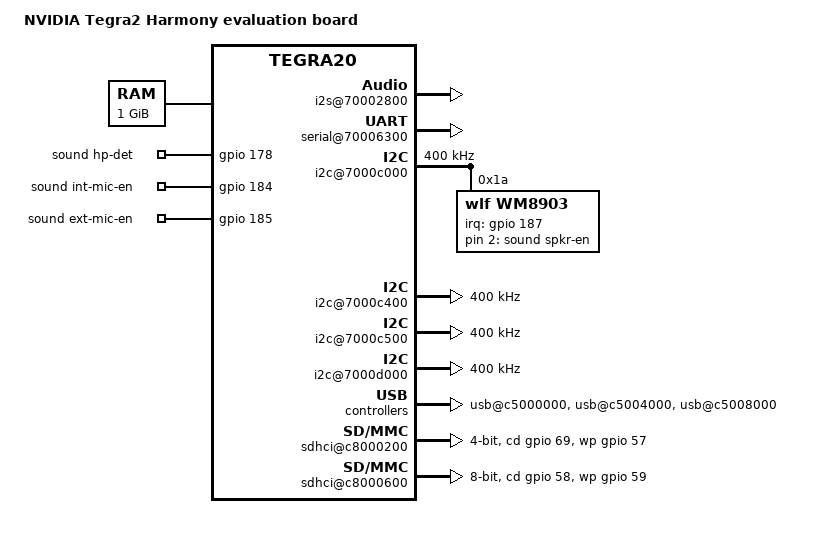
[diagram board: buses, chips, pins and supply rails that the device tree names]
/dts-v1/;

/include/ "tegra20.dtsi"

/ {
	model = "NVIDIA Tegra2 Harmony evaluation board";
	compatible = "nvidia,harmony", "nvidia,tegra20";

	memory {
		reg = <0x00000000 0x40000000>;
	};

	pinmux {
		pinctrl-names = "default";
		pinctrl-0 = <&state_default>;

		state_default: pinmux {
			ata {
				nvidia,pins = "ata";
				nvidia,function = "ide";
			};
			atb {
				nvidia,pins = "atb", "gma", "gme";
				nvidia,function = "sdio4";
			};
			atc {
				nvidia,pins = "atc";
				nvidia,function = "nand";
			};
			atd {
				nvidia,pins = "atd", "ate", "gmb", "gmd", "gpu",
					"spia", "spib", "spic";
				nvidia,function = "gmi";
			};
			cdev1 {
				nvidia,pins = "cdev1";
				nvidia,function = "plla_out";
			};
			cdev2 {
				nvidia,pins = "cdev2";
				nvidia,function = "pllp_out4";
			};
			crtp {
				nvidia,pins = "crtp";
				nvidia,function = "crt";
			};
			csus {
				nvidia,pins = "csus";
				nvidia,function = "vi_sensor_clk";
			};
			dap1 {
				nvidia,pins = "dap1";
				nvidia,function = "dap1";
			};
			dap2 {
				nvidia,pins = "dap2";
				nvidia,function = "dap2";
			};
			dap3 {
				nvidia,pins = "dap3";
				nvidia,function = "dap3";
			};
			dap4 {
				nvidia,pins = "dap4";
				nvidia,function = "dap4";
			};
			ddc {
				nvidia,pins = "ddc";
				nvidia,function = "i2c2";
			};
			dta {
				nvidia,pins = "dta", "dtd";
				nvidia,function = "sdio2";
			};
			dtb {
				nvidia,pins = "dtb", "dtc", "dte";
				nvidia,function = "rsvd1";
			};
			dtf {
				nvidia,pins = "dtf";
				nvidia,function = "i2c3";
			};
			gmc {
				nvidia,pins = "gmc";
				nvidia,function = "uartd";
			};
			gpu7 {
				nvidia,pins = "gpu7";
				nvidia,function = "rtck";
			};
			gpv {
				nvidia,pins = "gpv", "slxa", "slxk";
				nvidia,function = "pcie";
			};
			hdint {
				nvidia,pins = "hdint", "pta";
				nvidia,function = "hdmi";
			};
			i2cp {
				nvidia,pins = "i2cp";
				nvidia,function = "i2cp";
			};
			irrx {
				nvidia,pins = "irrx", "irtx";
				nvidia,function = "uarta";
			};
			kbca {
				nvidia,pins = "kbca", "kbcb", "kbcc", "kbcd",
					"kbce", "kbcf";
				nvidia,function = "kbc";
			};
			lcsn {
				nvidia,pins = "lcsn", "ld0", "ld1", "ld2",
					"ld3", "ld4", "ld5", "ld6", "ld7",
					"ld8", "ld9", "ld10", "ld11", "ld12",
					"ld13", "ld14", "ld15", "ld16", "ld17",
					"ldc", "ldi", "lhp0", "lhp1", "lhp2",
					"lhs", "lm0", "lm1", "lpp", "lpw0",
					"lpw1", "lpw2", "lsc0", "lsc1", "lsck",
					"lsda", "lsdi", "lspi", "lvp0", "lvp1",
					"lvs";
				nvidia,function = "displaya";
			};
			owc {
				nvidia,pins = "owc", "spdi", "spdo", "uac";
				nvidia,function = "rsvd2";
			};
			pmc {
				nvidia,pins = "pmc";
				nvidia,function = "pwr_on";
			};
			rm {
				nvidia,pins = "rm";
				nvidia,function = "i2c1";
			};
			sdb {
				nvidia,pins = "sdb", "sdc", "sdd";
				nvidia,function = "pwm";
			};
			sdio1 {
				nvidia,pins = "sdio1";
				nvidia,function = "sdio1";
			};
			slxc {
				nvidia,pins = "slxc", "slxd";
				nvidia,function = "spdif";
			};
			spid {
				nvidia,pins = "spid", "spie", "spif";
				nvidia,function = "spi1";
			};
			spig {
				nvidia,pins = "spig", "spih";
				nvidia,function = "spi2_alt";
			};
			uaa {
				nvidia,pins = "uaa", "uab", "uda";
				nvidia,function = "ulpi";
			};
			uad {
				nvidia,pins = "uad";
				nvidia,function = "irda";
			};
			uca {
				nvidia,pins = "uca", "ucb";
				nvidia,function = "uartc";
			};
			conf_ata {
				nvidia,pins = "ata", "atb", "atc", "atd", "ate",
					"cdev1", "cdev2", "dap1", "dtb", "gma",
					"gmb", "gmc", "gmd", "gme", "gpu7",
					"gpv", "i2cp", "pta", "rm", "slxa",
					"slxk", "spia", "spib", "uac";
				nvidia,pull = <0>;
				nvidia,tristate = <0>;
			};
			conf_ck32 {
				nvidia,pins = "ck32", "ddrc", "pmca", "pmcb",
					"pmcc", "pmcd", "pmce", "xm2c", "xm2d";
				nvidia,pull = <0>;
			};
			conf_csus {
				nvidia,pins = "csus", "spid", "spif";
				nvidia,pull = <1>;
				nvidia,tristate = <1>;
			};
			conf_crtp {
				nvidia,pins = "crtp", "dap2", "dap3", "dap4",
					"dtc", "dte", "dtf", "gpu", "sdio1",
					"slxc", "slxd", "spdi", "spdo", "spig",
					"uda";
				nvidia,pull = <0>;
				nvidia,tristate = <1>;
			};
			conf_ddc {
				nvidia,pins = "ddc", "dta", "dtd", "kbca",
					"kbcb", "kbcc", "kbcd", "kbce", "kbcf",
					"sdc";
				nvidia,pull = <2>;
				nvidia,tristate = <0>;
			};
			conf_hdint {
				nvidia,pins = "hdint", "lcsn", "ldc", "lm1",
					"lpw1", "lsc1", "lsck", "lsda", "lsdi",
					"lvp0", "owc", "sdb";
				nvidia,tristate = <1>;
			};
			conf_irrx {
				nvidia,pins = "irrx", "irtx", "sdd", "spic",
					"spie", "spih", "uaa", "uab", "uad",
					"uca", "ucb";
				nvidia,pull = <2>;
				nvidia,tristate = <1>;
			};
			conf_lc {
				nvidia,pins = "lc", "ls";
				nvidia,pull = <2>;
			};
			conf_ld0 {
				nvidia,pins = "ld0", "ld1", "ld2", "ld3", "ld4",
					"ld5", "ld6", "ld7", "ld8", "ld9",
					"ld10", "ld11", "ld12", "ld13", "ld14",
					"ld15", "ld16", "ld17", "ldi", "lhp0",
					"lhp1", "lhp2", "lhs", "lm0", "lpp",
					"lpw0", "lpw2", "lsc0", "lspi", "lvp1",
					"lvs", "pmc";
				nvidia,tristate = <0>;
			};
			conf_ld17_0 {
				nvidia,pins = "ld17_0", "ld19_18", "ld21_20",
					"ld23_22";
				nvidia,pull = <1>;
			};
		};
	};

	i2s@70002800 {
		status = "okay";
	};

	serial@70006300 {
		status = "okay";
		clock-frequency = <216000000>;
	};

	i2c@7000c000 {
		status = "okay";
		clock-frequency = <400000>;

		wm8903: wm8903@1a {
			compatible = "wlf,wm8903";
			reg = <0x1a>;
			interrupt-parent = <&gpio>;
			interrupts = <187 0x04>;

			gpio-controller;
			#gpio-cells = <2>;

			micdet-cfg = <0>;
			micdet-delay = <100>;
			gpio-cfg = <0xffffffff 0xffffffff 0 0xffffffff 0xffffffff>;
		};
	};

	i2c@7000c400 {
		status = "okay";
		clock-frequency = <400000>;
	};

	i2c@7000c500 {
		status = "okay";
		clock-frequency = <400000>;
	};

	i2c@7000d000 {
		status = "okay";
		clock-frequency = <400000>;
	};

	pmc {
		nvidia,invert-interrupt;
	};

	usb@c5000000 {
		status = "okay";
	};

	usb@c5004000 {
		status = "okay";
		nvidia,phy-reset-gpio = <&gpio 169 0>; /* gpio PV1 */
	};

	usb@c5008000 {
		status = "okay";
	};

	sdhci@c8000200 {
		status = "okay";
		cd-gpios = <&gpio 69 0>; /* gpio PI5 */
		wp-gpios = <&gpio 57 0>; /* gpio PH1 */
		power-gpios = <&gpio 155 0>; /* gpio PT3 */
		bus-width = <4>;
	};

	sdhci@c8000600 {
		status = "okay";
		cd-gpios = <&gpio 58 0>; /* gpio PH2 */
		wp-gpios = <&gpio 59 0>; /* gpio PH3 */
		power-gpios = <&gpio 70 0>; /* gpio PI6 */
		support-8bit;
		bus-width = <8>;
	};

	sound {
		compatible = "nvidia,tegra-audio-wm8903-harmony",
			     "nvidia,tegra-audio-wm8903";
		nvidia,model = "NVIDIA Tegra Harmony";

		nvidia,audio-routing =
			"Headphone Jack", "HPOUTR",
			"Headphone Jack", "HPOUTL",
			"Int Spk", "ROP",
			"Int Spk", "RON",
			"Int Spk", "LOP",
			"Int Spk", "LON",
			"Mic Jack", "MICBIAS",
			"IN1L", "Mic Jack";

		nvidia,i2s-controller = <&tegra_i2s1>;
		nvidia,audio-codec = <&wm8903>;

		nvidia,spkr-en-gpios = <&wm8903 2 0>;
		nvidia,hp-det-gpios = <&gpio 178 0>; /* gpio PW2 */
		nvidia,int-mic-en-gpios = <&gpio 184 0>; /*gpio PX0 */
		nvidia,ext-mic-en-gpios = <&gpio 185 0>; /* gpio PX1 */
	};
};
